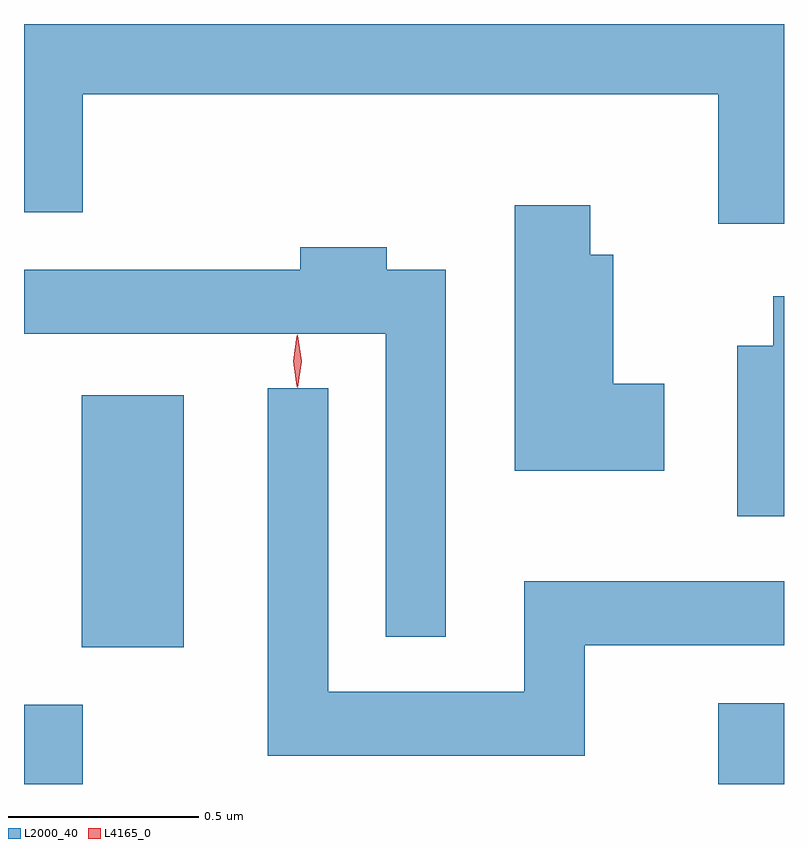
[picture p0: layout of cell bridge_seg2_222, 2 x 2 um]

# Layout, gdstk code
import gdstk
lib = gdstk.Library(unit=1e-6, precision=1e-09)
def R(c, l, rs):  # rectangles x0, y0, x1, y1
    for r in rs: c.add(gdstk.rectangle(r[:2], r[2:], *l))
def P(c, l, *ps):  # polygons
    for p in ps: c.add(gdstk.Polygon(p, *l))
L2000_40 = (2000, 40)
L4165_0 = (4165, 0)

bridge_seg2_222 = lib.new_cell('bridge_seg2_222')
R(bridge_seg2_222, L2000_40, [(544.784,1093.121,544.939,1093.329), (546.611,1093.121,546.784,1093.334), (544.936,1093.481,545.204,1094.144)])
P(bridge_seg2_222, L2000_40, [(546.784,1095.121),(544.784,1095.121),(544.784,1094.626),(544.939,1094.626),(544.939,1094.936),(546.611,1094.936),(546.611,1094.596),(546.784,1094.596)],
  [(546.469,1094.174),(546.334,1094.174),(546.334,1094.514),(546.274,1094.514),(546.274,1094.644),(546.076,1094.644),(546.076,1093.946),(546.469,1093.946)],
  [(545.894,1094.474),(545.739,1094.474),(545.739,1094.534),(545.511,1094.534),(545.511,1094.474),(544.784,1094.474),(544.784,1094.306),(545.736,1094.306),(545.736,1093.508),(545.894,1093.508)],
  [(546.784,1094.404),(546.756,1094.404),(546.756,1094.274),(546.661,1094.274),(546.661,1093.826),(546.784,1093.826)],
  [(546.259,1093.486),(546.784,1093.486),(546.784,1093.654),(546.101,1093.654),(546.101,1093.364),(545.584,1093.364),(545.584,1094.163),(545.426,1094.163),(545.426,1093.196),(546.259,1093.196)])
P(bridge_seg2_222, L4165_0, [(545.504,1094.164),(545.495,1094.234),(545.504,1094.302),(545.505,1094.303),(545.505,1094.302),(545.515,1094.234),(545.505,1094.164),(545.505,1094.164)],
  [(545.502,1094.167),(545.502,1094.168),(545.492,1094.234),(545.502,1094.3),(545.502,1094.3),(545.503,1094.3),(545.512,1094.234),(545.503,1094.168)])

lib.write_gds('bridge_seg2_222.gds')
